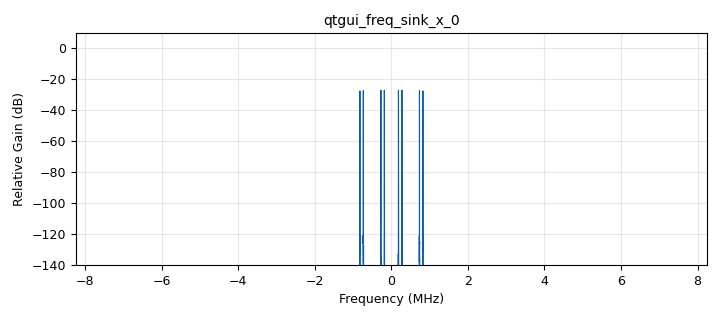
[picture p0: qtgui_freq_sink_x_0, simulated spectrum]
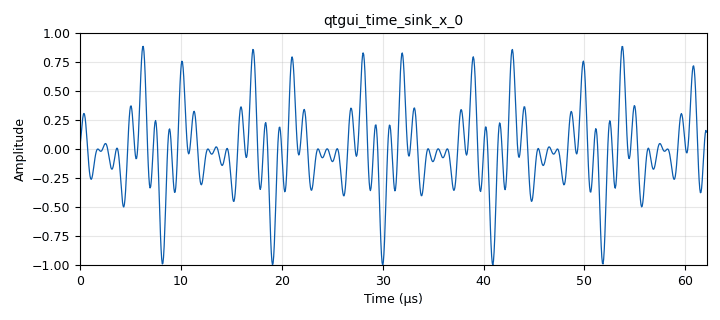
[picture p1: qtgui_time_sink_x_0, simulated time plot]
options:
  parameters:
    author: labcom
    generate_options: qt_gui
    id: parte_dos_lab1
    output_language: python
    title: Parte_dos
  states: {}

blocks:
- name: freq_a
  id: variable_qtgui_range
  parameters:
    label: Frequency
    start: 1e3
    step: 1e3
    stop: 400e3
    value: 45e3
  states: {}
- name: freq_b
  id: variable_qtgui_range
  parameters:
    label: Frequency B
    start: 1e3
    step: 1e3
    stop: 600e3
    value: 504e3
  states: {}
- name: freq_c
  id: variable_qtgui_range
  parameters:
    label: Frequency C
    start: 1e3
    step: 1e3
    stop: 300e3
    value: (freq_a+freq_b)/2
  states: {}
- name: samp_rate
  id: variable_qtgui_range
  parameters:
    label: Frecuencia de muestreo
    start: 1e3
    step: 1e3
    stop: 40*(freq_a+freq_b+freq_c)
    value: 20*(freq_a+freq_b+freq_c)
  states: {}
- name: analog_sig_source_x_0
  id: analog_sig_source_x
  parameters:
    amp: '1'
    freq: freq_c
    offset: '0'
    phase: '0'
    samp_rate: samp_rate
    type: float
    waveform: analog.GR_COS_WAVE
  states: {}
- name: analog_sig_source_x_0_0
  id: analog_sig_source_x
  parameters:
    amp: '1'
    freq: freq_a
    offset: '0'
    phase: '0'
    samp_rate: samp_rate
    type: float
    waveform: analog.GR_COS_WAVE
  states: {}
- name: analog_sig_source_x_0_1
  id: analog_sig_source_x
  parameters:
    amp: '1'
    freq: freq_b
    offset: '0'
    phase: '0'
    samp_rate: samp_rate
    type: float
    waveform: analog.GR_COS_WAVE
  states: {}
- name: blocks_multiply_xx_0
  id: blocks_multiply_xx
  parameters:
    num_inputs: '3'
    type: float
  states: {}
- name: blocks_throttle_0
  id: blocks_throttle
  parameters:
    samples_per_second: samp_rate
    type: float
  states: {}
- name: qtgui_freq_sink_x_0
  id: qtgui_freq_sink_x
  parameters:
    bw: samp_rate
    fc: '0'
    fftsize: '32768'
    type: float
  states: {}
- name: qtgui_time_sink_x_0
  id: qtgui_time_sink_x
  parameters:
    size: '1024'
    srate: samp_rate
    type: float
  states: {}

connections:
- [analog_sig_source_x_0, '0', blocks_multiply_xx_0, '2']
- [analog_sig_source_x_0_0, '0', blocks_multiply_xx_0, '0']
- [analog_sig_source_x_0_1, '0', blocks_multiply_xx_0, '1']
- [blocks_multiply_xx_0, '0', blocks_throttle_0, '0']
- [blocks_throttle_0, '0', qtgui_freq_sink_x_0, '0']
- [blocks_throttle_0, '0', qtgui_time_sink_x_0, '0']

metadata:
  file_format: 1
  grc_version: 3.10.2.0
